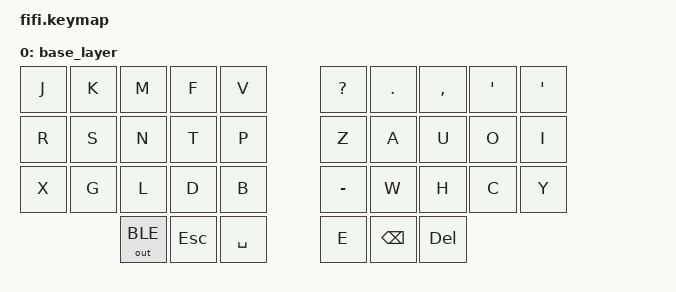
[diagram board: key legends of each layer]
/*
 * Copyright (c) 2020 The ZMK Contributors
 *
 * SPDX-License-Identifier: MIT
 */

#include <behaviors.dtsi>
#include <dt-bindings/zmk/keys.h>
#include <dt-bindings/zmk/bt.h>
#include <dt-bindings/zmk/outputs.h>

#define BASE    0

/ {
        keymap {
                compatible = "zmk,keymap";

                base_layer {
                        bindings = <
   &kp J  &kp K  &kp M  &kp F  &kp V           &kp QMARK  &kp DOT  &kp COMMA  &kp APOS  &kp SQT
   &kp R  &kp S  &kp N  &kp T  &kp P           &kp Z      &kp A    &kp U  &kp O     &kp I
   &kp X  &kp G  &kp L  &kp D  &kp B           &kp MINUS  &kp W    &kp H  &kp C     &kp Y
        &out OUT_BLE &kp ESC &kp SPACE       &kp E      &kp BSPC  &kp DEL
                        >;
                };
        };
};
